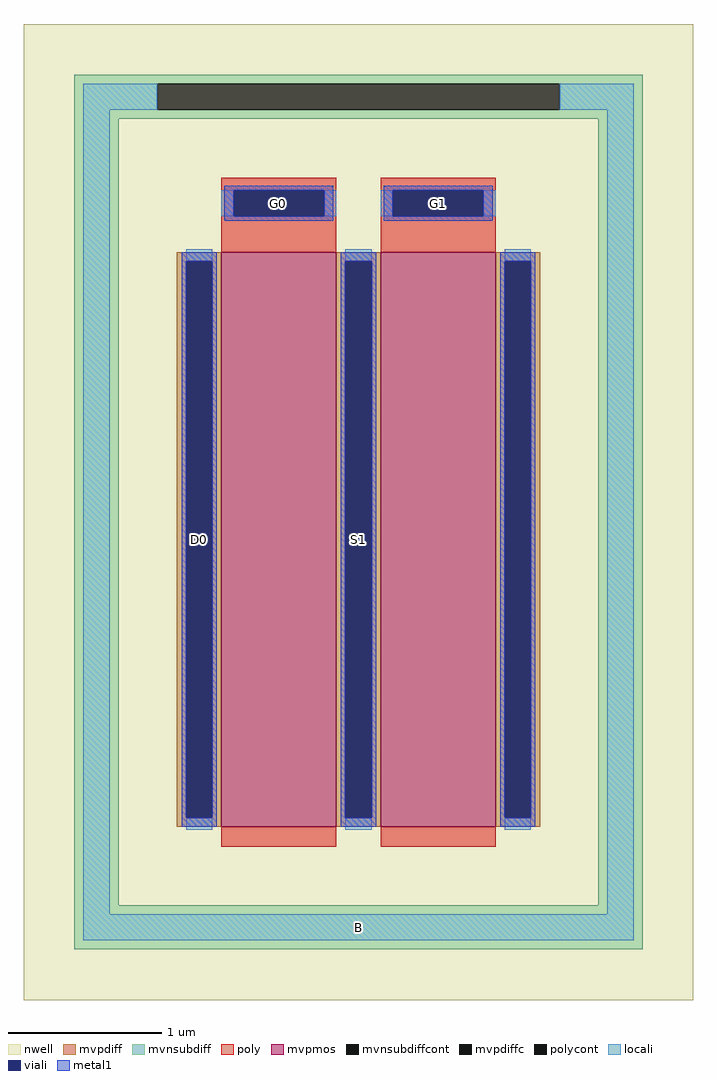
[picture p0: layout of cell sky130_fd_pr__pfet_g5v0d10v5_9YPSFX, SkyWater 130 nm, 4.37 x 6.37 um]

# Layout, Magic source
magic
tech sky130A
magscale 1 2
<< nwell >>
rect -437 -637 437 637
<< mvpmos >>
rect -179 -411 -29 339
rect 29 -411 179 339
<< mvpdiff >>
rect -237 327 -179 339
rect -237 -399 -225 327
rect -191 -399 -179 327
rect -237 -411 -179 -399
rect -29 327 29 339
rect -29 -399 -17 327
rect 17 -399 29 327
rect -29 -411 29 -399
rect 179 327 237 339
rect 179 -399 191 327
rect 225 -399 237 327
rect 179 -411 237 -399
<< mvpdiffc >>
rect -225 -399 -191 327
rect -17 -399 17 327
rect 191 -399 225 327
<< mvnsubdiff >>
rect -371 559 371 571
rect -371 525 -263 559
rect 263 525 371 559
rect -371 513 371 525
rect -371 -513 -313 513
rect 313 -513 371 513
rect -371 -571 371 -513
<< mvnsubdiffcont >>
rect -263 525 263 559
<< poly >>
rect -179 420 -29 436
rect -179 386 -163 420
rect -45 386 -29 420
rect -179 339 -29 386
rect 29 420 179 436
rect 29 386 45 420
rect 163 386 179 420
rect 29 339 179 386
rect -179 -437 -29 -411
rect 29 -437 179 -411
<< polycont >>
rect -163 386 -45 420
rect 45 386 163 420
<< locali >>
rect -359 525 -263 559
rect 263 525 359 559
rect -359 -525 -325 525
rect -179 386 -163 420
rect -45 386 -29 420
rect 29 386 45 420
rect 163 386 179 420
rect -225 327 -191 343
rect -225 -415 -191 -399
rect -17 327 17 343
rect -17 -415 17 -399
rect 191 327 225 343
rect 191 -415 225 -399
rect 325 -525 359 525
rect -359 -559 359 -525
<< viali >>
rect -163 386 -45 420
rect 45 386 163 420
rect -225 -399 -191 327
rect -17 -399 17 327
rect 191 -399 225 327
<< metal1 >>
rect -175 420 -33 426
rect -175 386 -163 420
rect -45 386 -33 420
rect -175 380 -33 386
rect 33 420 175 426
rect 33 386 45 420
rect 163 386 175 420
rect 33 380 175 386
rect -231 327 -185 339
rect -231 -399 -225 327
rect -191 -399 -185 327
rect -231 -411 -185 -399
rect -23 327 23 339
rect -23 -399 -17 327
rect 17 -399 23 327
rect -23 -411 23 -399
rect 185 327 231 339
rect 185 -399 191 327
rect 225 -399 231 327
rect 185 -411 231 -399
<< labels >>
rlabel mvnsubdiff 0 -542 0 -542 0 B
port 1 nsew
rlabel mvpdiffc -208 -36 -208 -36 0 D0
port 2 nsew
rlabel polycont -104 403 -104 403 0 G0
port 3 nsew
rlabel mvpdiffc 0 -36 0 -36 0 S1
port 4 nsew
rlabel polycont 104 403 104 403 0 G1
port 5 nsew
<< properties >>
string FIXED_BBOX -342 -542 342 542
string gencell sky130_fd_pr__pfet_g5v0d10v5
string library sky130
string parameters w 3.75 l 0.75 m 1 nf 2 diffcov 100 polycov 100 guard 1 glc 0 grc 0 gtc 1 gbc 0 tbcov 100 rlcov 100 topc 1 botc 0 poverlap 0 doverlap 1 lmin 0.50 wmin 0.42 class mosfet compatible {sky130_fd_pr__pfet_01v8  sky130_fd_pr__pfet_01v8_lvt sky130_fd_pr__pfet_01v8_hvt  sky130_fd_pr__pfet_g5v0d10v5} full_metal 1 conn_gates 0 viasrc 100 viadrn 100 viagate 100 viagb 0 viagr 0 viagl 0 viagt 0 doports 1
<< end >>
